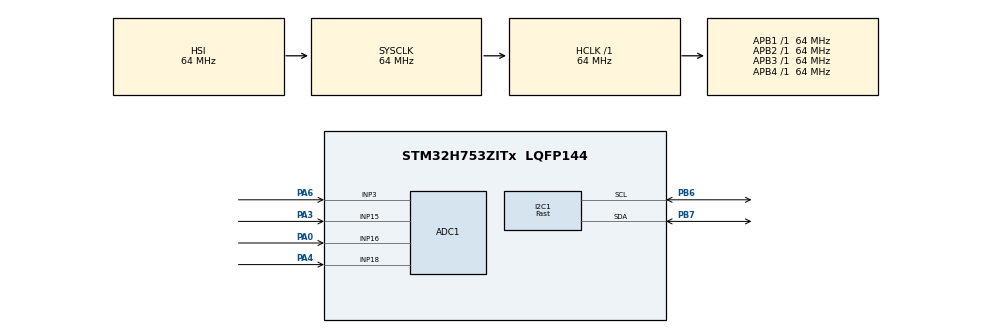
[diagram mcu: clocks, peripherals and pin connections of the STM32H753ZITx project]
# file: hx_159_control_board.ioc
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ADC1.Channel-0\#ChannelRegularConversion=ADC_CHANNEL_16
ADC1.Channel-1\#ChannelRegularConversion=ADC_CHANNEL_15
ADC1.Channel-2\#ChannelRegularConversion=ADC_CHANNEL_18
ADC1.Channel-3\#ChannelRegularConversion=ADC_CHANNEL_3
ADC1.ContinuousConvMode=ENABLE
ADC1.ConversionDataManagement=ADC_CONVERSIONDATA_DMA_CIRCULAR
ADC1.NbrOfConversion=4
ADC1.NbrOfConversionFlag=1
ADC1.OffsetNumber-0\#ChannelRegularConversion=ADC_OFFSET_NONE
ADC1.OffsetNumber-1\#ChannelRegularConversion=ADC_OFFSET_NONE
ADC1.OffsetNumber-2\#ChannelRegularConversion=ADC_OFFSET_NONE
ADC1.OffsetNumber-3\#ChannelRegularConversion=ADC_OFFSET_NONE
ADC1.OffsetSignedSaturation-0\#ChannelRegularConversion=DISABLE
ADC1.OffsetSignedSaturation-1\#ChannelRegularConversion=DISABLE
ADC1.OffsetSignedSaturation-2\#ChannelRegularConversion=DISABLE
ADC1.OffsetSignedSaturation-3\#ChannelRegularConversion=DISABLE
ADC1.Rank-0\#ChannelRegularConversion=1
ADC1.Rank-1\#ChannelRegularConversion=2
ADC1.Rank-2\#ChannelRegularConversion=3
ADC1.Rank-3\#ChannelRegularConversion=4
ADC1.SamplingTime-0\#ChannelRegularConversion=ADC_SAMPLETIME_810CYCLES_5
ADC1.SamplingTime-1\#ChannelRegularConversion=ADC_SAMPLETIME_810CYCLES_5
ADC1.SamplingTime-2\#ChannelRegularConversion=ADC_SAMPLETIME_810CYCLES_5
ADC1.SamplingTime-3\#ChannelRegularConversion=ADC_SAMPLETIME_810CYCLES_5
ADC1.master=1
CORTEX_M7.CPU_DCache=Disabled
CORTEX_M7.CPU_ICache=Disabled
CORTEX_M7.MPU_Control=MPU_PRIVILEGED_DEFAULT
CORTEX_M7.default_mode_Activation=1
Dma.ADC1.0.Direction=DMA_PERIPH_TO_MEMORY
Dma.ADC1.0.EventEnable=DISABLE
Dma.ADC1.0.FIFOMode=DMA_FIFOMODE_DISABLE
Dma.ADC1.0.Instance=DMA1_Stream0
Dma.ADC1.0.MemDataAlignment=DMA_MDATAALIGN_HALFWORD
Dma.ADC1.0.MemInc=DMA_MINC_ENABLE
Dma.ADC1.0.Mode=DMA_CIRCULAR
Dma.ADC1.0.PeriphDataAlignment=DMA_PDATAALIGN_HALFWORD
Dma.ADC1.0.PeriphInc=DMA_PINC_DISABLE
Dma.ADC1.0.Polarity=HAL_DMAMUX_REQ_GEN_RISING
Dma.ADC1.0.Priority=DMA_PRIORITY_LOW
Dma.ADC1.0.RequestNumber=1
Dma.ADC1.0.SignalID=NONE
Dma.ADC1.0.SyncEnable=DISABLE
Dma.ADC1.0.SyncPolarity=HAL_DMAMUX_SYNC_NO_EVENT
Dma.ADC1.0.SyncRequestNumber=1
Dma.ADC1.0.SyncSignalID=NONE
Dma.Request0=ADC1
I2C1.I2C_Speed_Mode=I2C_Fast
I2C1.Timing=0x00602173
Mcu.Family=STM32H7
Mcu.Name=STM32H753ZITx
Mcu.Package=LQFP144
NUCLEO-H753ZI.BUTTON=1
NUCLEO-H753ZI.LD1=true
NUCLEO-H753ZI.LD2=true
NUCLEO-H753ZI.LD3=true
NUCLEO-H753ZI.VCP=true
NVIC.ADC_IRQn=true\:1\:0\:true\:false\:true\:true\:true\:true
NVIC.DMA1_Stream0_IRQn=true\:0\:0\:false\:false\:true\:false\:true\:true
NVIC.EXTI15_10_IRQn=true\:0\:0\:false\:false\:true\:false\:true\:true
NVIC.PriorityGroup=NVIC_PRIORITYGROUP_4
PA0.Mode=IN16-Single-Ended
PA0.Signal=ADC1_INP16
PA3.Signal=ADCx_INP15
PA4.Signal=ADCx_INP18
PA6.Signal=ADCx_INP3
PB6.Mode=I2C
PB6.Signal=I2C1_SCL
PB7.Mode=I2C
PB7.Signal=I2C1_SDA
PC14-OSC32_IN\ (OSC32_IN).Signal=RCC_OSC32_IN
PC15-OSC32_OUT\ (OSC32_OUT).Signal=RCC_OSC32_OUT
PD8.Signal=USART3_TX
PD9.Signal=USART3_RX
PH0-OSC_IN\ (PH0).Signal=RCC_OSC_IN
PH1-OSC_OUT\ (PH1).Signal=RCC_OSC_OUT
ProjectManager.HeapSize=0x200
ProjectManager.StackSize=0x400
ProjectManager.TargetToolchain=STM32CubeIDE
RCC.ADCFreq_Value=75000000
RCC.APB1Freq_Value=64000000
RCC.APB2Freq_Value=64000000
RCC.APB3Freq_Value=64000000
RCC.APB4Freq_Value=64000000
RCC.CortexFreq_Value=64000000
RCC.DIVM1=1
RCC.DIVM2=4
RCC.DIVN1=24
RCC.DIVN2=9
RCC.DIVQ1=4
RCC.HCLKFreq_Value=64000000
RCC.HSE_VALUE=8000000
RCC.PLL2FRACN=3072
RCC.PLLFRACN=0
RCC.PWR_Regulator_Voltage_Scale=PWR_REGULATOR_VOLTAGE_SCALE2
RCC.SYSCLKFreq_VALUE=64000000
RCC.USBFreq_Value=384000000
SH.ADCx_INP15.0=ADC1_INP15,IN15-Single-Ended
SH.ADCx_INP18.0=ADC1_INP18,IN18-Single-Ended
SH.ADCx_INP3.0=ADC1_INP3,IN3-Single-Ended
VP_MEMORYMAP_VS_MEMORYMAP.Mode=CurAppReg
VP_NUCLEO-H753ZI_VS_BSP_COMMON.Mode=COMMON
board=NUCLEO-H753ZI

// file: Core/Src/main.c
/* USER CODE BEGIN Header */
/**
  ******************************************************************************
  * @file           : main.c
  * @brief          : Main program body
  ******************************************************************************
  * @attention
  *
  * Copyright (c) 2026 STMicroelectronics.
  * All rights reserved.
  *
  * This software is licensed under terms that can be found in the LICENSE file
  * in the root directory of this software component.
  * If no LICENSE file comes with this software, it is provided AS-IS.
  *
  ******************************************************************************
  */
/* USER CODE END Header */
#include "main.h"

/* USER CODE BEGIN Includes */
#include <stdio.h>
#include <stdlib.h>
#include <math.h>
#include "thermistor.h"
#include "MPU6050.h"
/* USER CODE END Includes */

/* USER CODE BEGIN PD */
#define NUM_THERM 4
/* USER CODE END PD */

COM_InitTypeDef BspCOMInit;
ADC_HandleTypeDef hadc1;
DMA_HandleTypeDef hdma_adc1;

I2C_HandleTypeDef hi2c1;

/* USER CODE BEGIN PV */
__attribute__((section(".dma_buffer"), aligned(32)))
uint16_t adcBuf[16];   /* 4 used, padded to 32 bytes */
/* USER CODE END PV */

void SystemClock_Config(void);
static void MPU_Config(void);
static void MX_GPIO_Init(void);
static void MX_DMA_Init(void);
static void MX_ADC1_Init(void);
static void MX_I2C1_Init(void);

int main(void)
{

  /* MPU Configuration--------------------------------------------------------*/
  MPU_Config();

  /* MCU Configuration--------------------------------------------------------*/

  /* Reset of all peripherals, Initializes the Flash interface and the Systick. */
  HAL_Init();

  /* Configure the system clock */
  SystemClock_Config();

  /* Initialize all configured peripherals */
  MX_GPIO_Init();
  MX_DMA_Init();
  MX_ADC1_Init();
  MX_I2C1_Init();
  /* USER CODE BEGIN 2 */
  if (HAL_ADCEx_Calibration_Start(&hadc1, ADC_CALIB_OFFSET, ADC_SINGLE_ENDED) != HAL_OK)
  {
    Error_Handler();
  }
  if (HAL_ADC_Start_DMA(&hadc1, (uint32_t*)adcBuf, NUM_THERM) != HAL_OK)
  {
    Error_Handler();
  }
  /* USER CODE END 2 */

  /* Initialize leds */
  BSP_LED_Init(LED_GREEN);
  BSP_LED_Init(LED_YELLOW);
  BSP_LED_Init(LED_RED);

  /* Initialize USER push-button, will be used to trigger an interrupt each time it's pressed.*/
  BSP_PB_Init(BUTTON_USER, BUTTON_MODE_EXTI);

  /* Initialize COM1 port (115200, 8 bits (7-bit data + 1 stop bit), no parity */
  BspCOMInit.BaudRate   = 115200;
  BspCOMInit.WordLength = COM_WORDLENGTH_8B;
  BspCOMInit.StopBits   = COM_STOPBITS_1;
  BspCOMInit.Parity     = COM_PARITY_NONE;
  BspCOMInit.HwFlowCtl  = COM_HWCONTROL_NONE;
  if (BSP_COM_Init(COM1, &BspCOMInit) != BSP_ERROR_NONE)
  {
    Error_Handler();
  }

	/* Infinite loop */
	/* USER CODE BEGIN WHILE */
	BSP_COM_SelectLogPort(COM1);
	printf("STARTING\r\n");

	MPU6050_Initialization();
	printf("Finished initialization.\r\n");
	float roll = 0, pitch = 0;
	const float alpha = 0.98f;   /* 98% gyro, 2% accelerometer */
	float dt = 0.50f;            /* 500 ms, matches HAL_Delay(500) */

  while (1)
  {

    /* USER CODE END WHILE */

    /* USER CODE BEGIN 3 */
	    SCB_InvalidateDCache_by_Addr((uint32_t*)adcBuf, sizeof(adcBuf));

	    for (int i = 0; i < NUM_THERM; i++)
	    {
	      float   tempC = ntc_convertToC(adcBuf[i]);
	      int32_t t100  = (int32_t)(tempC * 100.0f);
	      printf("T%d:%s%ld.%02ld  ", i + 1,
	             (t100 < 0) ? "-" : "",
	             (long)abs(t100 / 100),
	             (long)abs(t100 % 100));
	    }
	    printf("\r\n");

	    if (MPU6050_DataReady())
	    {
	      MPU6050_ProcessData(&MPU6050);

	      float acc_roll  = atan2f(MPU6050.acc_y, MPU6050.acc_z) * 180.0f / M_PI;
	      float acc_pitch = atan2f(-MPU6050.acc_x,
	                               sqrtf(MPU6050.acc_y * MPU6050.acc_y +
	                                     MPU6050.acc_z * MPU6050.acc_z)) * 180.0f / M_PI;

	      roll  += MPU6050.gyro_x * dt;
	      pitch += MPU6050.gyro_y * dt;

	      roll  = alpha * roll  + (1 - alpha) * acc_roll;
	      pitch = alpha * pitch + (1 - alpha) * acc_pitch;

	      printf("Roll: %f  Pitch: %f\r\n", roll, pitch);
	      printf("Acc | x: %f, y: %f, z: %f\r\n", MPU6050.acc_x, MPU6050.acc_y, MPU6050.acc_z);
	      printf("Gyro | x: %f, y: %f, z: %f\r\n", MPU6050.gyro_x, MPU6050.gyro_y, MPU6050.gyro_z);
	      printf("Acc Raw | x: %d, y: %d, z: %d\r\n\n", MPU6050.acc_x_raw, MPU6050.acc_y_raw, MPU6050.acc_z_raw);
	    }

	    BSP_LED_Toggle(LED_GREEN);
	    HAL_Delay(500);
  }
  /* USER CODE END 3 */
}

void SystemClock_Config(void)
{
  RCC_OscInitTypeDef RCC_OscInitStruct = {0};
  RCC_ClkInitTypeDef RCC_ClkInitStruct = {0};

  /** Supply configuration update enable
  */
  HAL_PWREx_ConfigSupply(PWR_LDO_SUPPLY);

  /** Configure the main internal regulator output voltage
  */
  __HAL_PWR_VOLTAGESCALING_CONFIG(PWR_REGULATOR_VOLTAGE_SCALE2);

  while(!__HAL_PWR_GET_FLAG(PWR_FLAG_VOSRDY)) {}

  /** Macro to configure the PLL clock source
  */
  __HAL_RCC_PLL_PLLSOURCE_CONFIG(RCC_PLLSOURCE_HSI);

  /** Initializes the RCC Oscillators according to the specified parameters
  * in the RCC_OscInitTypeDef structure.
  */
  RCC_OscInitStruct.OscillatorType = RCC_OSCILLATORTYPE_HSI;
  RCC_OscInitStruct.HSIState = RCC_HSI_DIV1;
  RCC_OscInitStruct.HSICalibrationValue = RCC_HSICALIBRATION_DEFAULT;
  RCC_OscInitStruct.PLL.PLLState = RCC_PLL_NONE;
  if (HAL_RCC_OscConfig(&RCC_OscInitStruct) != HAL_OK)
  {
    Error_Handler();
  }

  /** Initializes the CPU, AHB and APB buses clocks
  */
  RCC_ClkInitStruct.ClockType = RCC_CLOCKTYPE_HCLK|RCC_CLOCKTYPE_SYSCLK
                              |RCC_CLOCKTYPE_PCLK1|RCC_CLOCKTYPE_PCLK2
                              |RCC_CLOCKTYPE_D3PCLK1|RCC_CLOCKTYPE_D1PCLK1;
  RCC_ClkInitStruct.SYSCLKSource = RCC_SYSCLKSOURCE_HSI;
  RCC_ClkInitStruct.SYSCLKDivider = RCC_SYSCLK_DIV1;
  RCC_ClkInitStruct.AHBCLKDivider = RCC_HCLK_DIV1;
  RCC_ClkInitStruct.APB3CLKDivider = RCC_APB3_DIV1;
  RCC_ClkInitStruct.APB1CLKDivider = RCC_APB1_DIV1;
  RCC_ClkInitStruct.APB2CLKDivider = RCC_APB2_DIV1;
  RCC_ClkInitStruct.APB4CLKDivider = RCC_APB4_DIV1;

  if (HAL_RCC_ClockConfig(&RCC_ClkInitStruct, FLASH_LATENCY_1) != HAL_OK)
  {
    Error_Handler();
  }
}

static void MX_ADC1_Init(void)
{

  ADC_MultiModeTypeDef multimode = {0};
  ADC_ChannelConfTypeDef sConfig = {0};

  /** Common config
  */
  hadc1.Instance = ADC1;
  hadc1.Init.ClockPrescaler = ADC_CLOCK_ASYNC_DIV2;
  hadc1.Init.Resolution = ADC_RESOLUTION_16B;
  hadc1.Init.ScanConvMode = ADC_SCAN_ENABLE;
  hadc1.Init.EOCSelection = ADC_EOC_SINGLE_CONV;
  hadc1.Init.LowPowerAutoWait = DISABLE;
  hadc1.Init.ContinuousConvMode = ENABLE;
  hadc1.Init.NbrOfConversion = 4;
  hadc1.Init.DiscontinuousConvMode = DISABLE;
  hadc1.Init.ExternalTrigConv = ADC_SOFTWARE_START;
  hadc1.Init.ExternalTrigConvEdge = ADC_EXTERNALTRIGCONVEDGE_NONE;
  hadc1.Init.ConversionDataManagement = ADC_CONVERSIONDATA_DMA_CIRCULAR;
  hadc1.Init.Overrun = ADC_OVR_DATA_PRESERVED;
  hadc1.Init.LeftBitShift = ADC_LEFTBITSHIFT_NONE;
  hadc1.Init.OversamplingMode = DISABLE;
  hadc1.Init.Oversampling.Ratio = 1;
  if (HAL_ADC_Init(&hadc1) != HAL_OK)
  {
    Error_Handler();
  }

  /** Configure the ADC multi-mode
  */
  multimode.Mode = ADC_MODE_INDEPENDENT;
  if (HAL_ADCEx_MultiModeConfigChannel(&hadc1, &multimode) != HAL_OK)
  {
    Error_Handler();
  }

  /** Configure Regular Channel
  */
  sConfig.Channel = ADC_CHANNEL_16;
  sConfig.Rank = ADC_REGULAR_RANK_1;
  sConfig.SamplingTime = ADC_SAMPLETIME_810CYCLES_5;
  sConfig.SingleDiff = ADC_SINGLE_ENDED;
  sConfig.OffsetNumber = ADC_OFFSET_NONE;
  sConfig.Offset = 0;
  sConfig.OffsetSignedSaturation = DISABLE;
  if (HAL_ADC_ConfigChannel(&hadc1, &sConfig) != HAL_OK)
  {
    Error_Handler();
  }

  /** Configure Regular Channel
  */
  sConfig.Channel = ADC_CHANNEL_15;
  sConfig.Rank = ADC_REGULAR_RANK_2;
  if (HAL_ADC_ConfigChannel(&hadc1, &sConfig) != HAL_OK)
  {
    Error_Handler();
  }

  /** Configure Regular Channel
  */
  sConfig.Channel = ADC_CHANNEL_18;
  sConfig.Rank = ADC_REGULAR_RANK_3;
  if (HAL_ADC_ConfigChannel(&hadc1, &sConfig) != HAL_OK)
  {
    Error_Handler();
  }

  /** Configure Regular Channel
  */
  sConfig.Channel = ADC_CHANNEL_3;
  sConfig.Rank = ADC_REGULAR_RANK_4;
  if (HAL_ADC_ConfigChannel(&hadc1, &sConfig) != HAL_OK)
  {
    Error_Handler();
  }

}

static void MX_I2C1_Init(void)
{

  hi2c1.Instance = I2C1;
  hi2c1.Init.Timing = 0x00602173;
  hi2c1.Init.OwnAddress1 = 0;
  hi2c1.Init.AddressingMode = I2C_ADDRESSINGMODE_7BIT;
  hi2c1.Init.DualAddressMode = I2C_DUALADDRESS_DISABLE;
  hi2c1.Init.OwnAddress2 = 0;
  hi2c1.Init.OwnAddress2Masks = I2C_OA2_NOMASK;
  hi2c1.Init.GeneralCallMode = I2C_GENERALCALL_DISABLE;
  hi2c1.Init.NoStretchMode = I2C_NOSTRETCH_DISABLE;
  if (HAL_I2C_Init(&hi2c1) != HAL_OK)
  {
    Error_Handler();
  }

  /** Configure Analogue filter
  */
  if (HAL_I2CEx_ConfigAnalogFilter(&hi2c1, I2C_ANALOGFILTER_ENABLE) != HAL_OK)
  {
    Error_Handler();
  }

  /** Configure Digital filter
  */
  if (HAL_I2CEx_ConfigDigitalFilter(&hi2c1, 0) != HAL_OK)
  {
    Error_Handler();
  }

}

static void MX_DMA_Init(void)
{

  /* DMA controller clock enable */
  __HAL_RCC_DMA1_CLK_ENABLE();

  /* DMA interrupt init */
  /* DMA1_Stream0_IRQn interrupt configuration */
  HAL_NVIC_SetPriority(DMA1_Stream0_IRQn, 0, 0);
  HAL_NVIC_EnableIRQ(DMA1_Stream0_IRQn);

}

static void MX_GPIO_Init(void)
{

  /* GPIO Ports Clock Enable */
  __HAL_RCC_GPIOC_CLK_ENABLE();
  __HAL_RCC_GPIOH_CLK_ENABLE();
  __HAL_RCC_GPIOA_CLK_ENABLE();
  __HAL_RCC_GPIOB_CLK_ENABLE();

}

 /* MPU Configuration */

void MPU_Config(void)
{
  MPU_Region_InitTypeDef MPU_InitStruct = {0};

  /* Disables the MPU */
  HAL_MPU_Disable();

  /** Initializes and configures the Region and the memory to be protected
  */
  MPU_InitStruct.Enable = MPU_REGION_ENABLE;
  MPU_InitStruct.Number = MPU_REGION_NUMBER0;
  MPU_InitStruct.BaseAddress = 0x0;
  MPU_InitStruct.Size = MPU_REGION_SIZE_4GB;
  MPU_InitStruct.SubRegionDisable = 0x87;
  MPU_InitStruct.TypeExtField = MPU_TEX_LEVEL0;
  MPU_InitStruct.AccessPermission = MPU_REGION_NO_ACCESS;
  MPU_InitStruct.DisableExec = MPU_INSTRUCTION_ACCESS_DISABLE;
  MPU_InitStruct.IsShareable = MPU_ACCESS_SHAREABLE;
  MPU_InitStruct.IsCacheable = MPU_ACCESS_NOT_CACHEABLE;
  MPU_InitStruct.IsBufferable = MPU_ACCESS_NOT_BUFFERABLE;

  HAL_MPU_ConfigRegion(&MPU_InitStruct);
  /* Enables the MPU */
  HAL_MPU_Enable(MPU_PRIVILEGED_DEFAULT);

}

void Error_Handler(void)
{
  __disable_irq();
  while (1)
  {
  }
}
